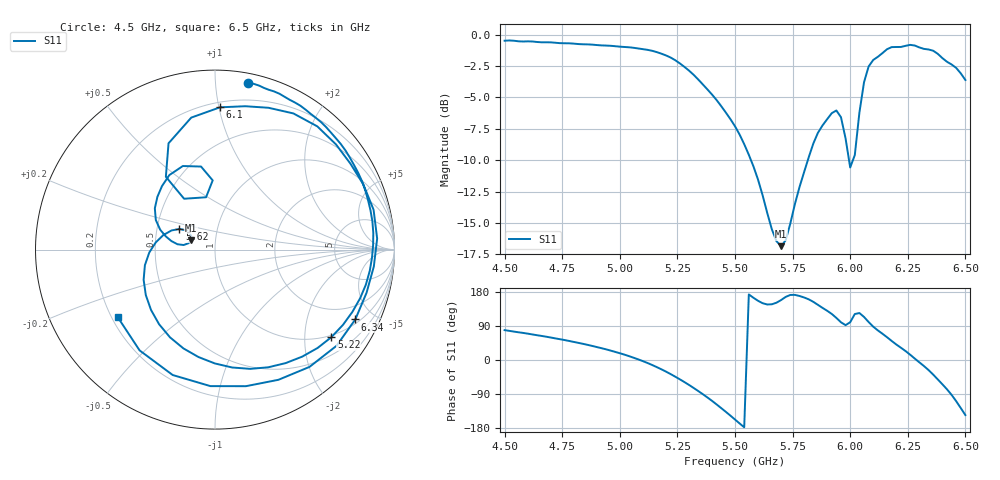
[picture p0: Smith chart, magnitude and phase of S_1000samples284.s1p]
! TOUCHSTONE file generated by CST MICROWAVE STUDIO
! Date and time: Thu Oct 27 15:17:57 2022
! Project name: L.cst
! Parameters = {Di=1.27; Epsilon_r=1.56; InnerDiameter=1.27; Length=2; Lf=10; Lg=60; OuterConductorThickness=0.2921; OuterDiameter=3.6; Wf=3; Wp=41.2; de=1.5; df=6.8; g=0.8; gx=4.82019; gy=0.509076; h=2.34; hf=1.524; px=9.81256; py=11.8043; w=9.7; wx=4.99236; wy=11.2952}
! Header version: 2018
! Port assignment regex: !\s*Touchstone port\s*([0-9]+)\s*=\s*(CST MWS port|CST DS port)\s*([0-9]+|Zmin|Zmax)\s*\(\"(.*)\"\)(\s*mode\s*([0-9]+))?.*
! Touchstone port assignment:
! Touchstone port 1 = CST MWS port 1 ("")
# GHz S DB R 50
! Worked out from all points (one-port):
!   101 points, 4.5 GHz to 6.5 GHz, reference 50 ohm
!   lowest |S11| = -16.8 dB at 5.7 GHz (marker M1), VSWR 1.34, Z = 38 + j4.15 ohm
!   |S11| at or under -10 dB: 5.569 GHz to 5.816 GHz (246.7 MHz wide, 4.33 % of centre); 5.994975 GHz to 6.011706 GHz (16.73 MHz wide, 0.279 % of centre)
!   S11 on the Smith chart (normalised r, x): 4.5 GHz: 0.07, +1.22; 5.22 GHz: 0.94, -2.70; 5.62 GHz: 0.65, +0.16; 6.1 GHz: 0.24, +1.01; 6.34 GHz: 1.19, -3.91; 6.5 GHz: 0.22, -0.30
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4.5  -0.48 78.8
4.76  -0.68 52.7
5  -0.95 17.9
5.12  -1.21 -7.8
5.22  -1.81 -37.0
5.26  -2.28 -50.8
5.32  -3.19 -73.6
5.38  -4.35 -98.7
5.44  -5.69 -126.9
5.5  -7.29 -157.1
5.56  -9.57 173.0
5.62  -12.80 149.8
5.7  -16.85 158.2
5.76  -13.49 171.9
5.84  -8.67 153.4
5.92  -6.25 121.5
5.96  -6.57 99.5
6  -10.58 99.7
6.02  -9.59 121.3
6.06  -3.79 113.6
6.1  -2.01 88.0
6.16  -1.16 60.1
6.26  -0.81 14.1
6.34  -1.18 -26.5
6.38  -1.52 -51.1
6.44  -2.37 -91.9
6.46  -2.65 -108.6
6.5  -3.61 -145.4
